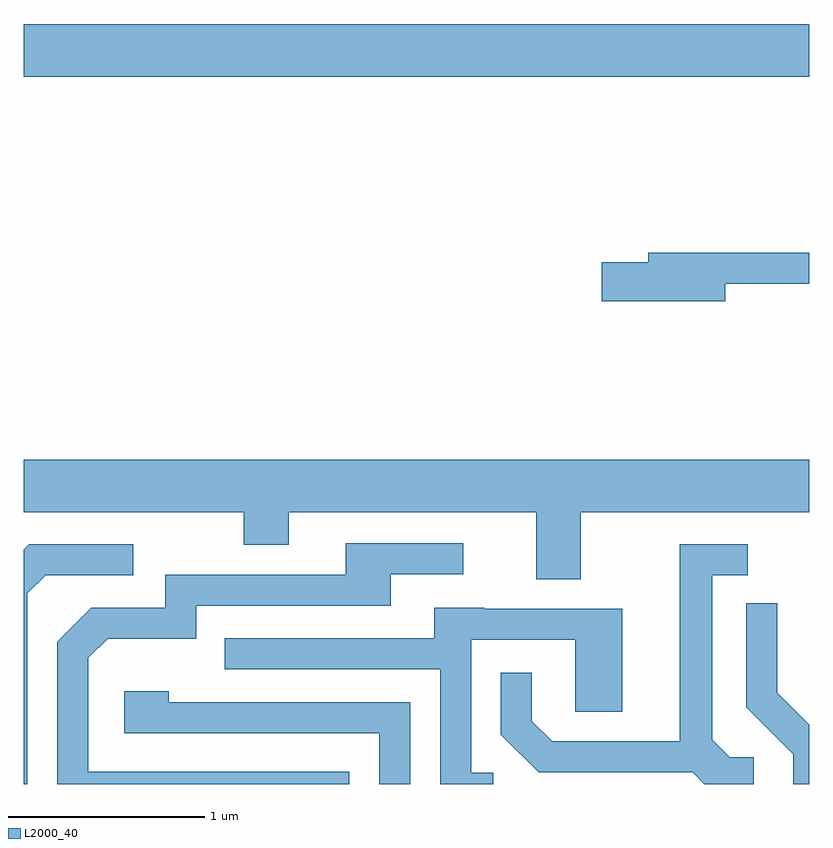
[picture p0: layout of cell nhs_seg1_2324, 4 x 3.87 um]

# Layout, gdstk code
import gdstk
lib = gdstk.Library(unit=1e-6, precision=1e-09)
def R(c, l, rs):  # rectangles x0, y0, x1, y1
    for r in rs: c.add(gdstk.rectangle(r[:2], r[2:], *l))
def P(c, l, *ps):  # polygons
    for p in ps: c.add(gdstk.Polygon(p, *l))
L2000_40 = (2000, 40)

nhs_seg1_2324 = lib.new_cell('nhs_seg1_2324')
R(nhs_seg1_2324, L2000_40, [(255.611,937.316,259.611,937.584)])
P(nhs_seg1_2324, L2000_40, [(259.184,936.261),(259.611,936.261),(259.611,936.419),(258.791,936.419),(258.791,936.369),(258.556,936.369),(258.556,936.171),(259.184,936.171)],
  [(258.449,935.096),(259.611,935.096),(259.611,935.364),(255.611,935.364),(255.611,935.096),(256.731,935.096),(256.731,934.931),(256.959,934.931),(256.959,935.096),(258.221,935.096),(258.221,934.756),(258.449,934.756)],
  [(257.269,933.774),(255.939,933.774),(255.939,934.354),(256.037,934.451),(256.489,934.451),(256.489,934.621),(257.479,934.621),(257.479,934.781),(257.848,934.781),(257.848,934.939),(257.251,934.939),(257.251,934.779),(256.331,934.779),(256.331,934.609),(255.954,934.609),(255.781,934.437),(255.781,933.712),(257.269,933.712)],
  [(259.328,933.849),(259.207,933.849),(259.119,933.937),(259.119,934.776),(259.298,934.776),(259.298,934.934),(258.951,934.934),(258.951,933.929),(258.302,933.929),(258.199,934.032),(258.199,934.278),(258.041,934.278),(258.041,933.964),(258.234,933.771),(259.019,933.771),(259.078,933.712),(259.328,933.712)],
  [(255.629,934.684),(255.722,934.776),(256.168,934.776),(256.168,934.934),(255.639,934.934),(255.611,934.906),(255.611,933.712),(255.629,933.712)],
  [(259.611,934.015),(259.449,934.177),(259.449,934.633),(259.291,934.633),(259.291,934.104),(259.531,933.864),(259.531,933.712),(259.611,933.712)],
  [(258.003,933.769),(257.889,933.769),(257.889,934.446),(258.421,934.446),(258.421,934.081),(258.659,934.081),(258.659,934.604),(257.955,934.604),(257.955,934.609),(257.701,934.609),(257.701,934.454),(256.633,934.454),(256.633,934.296),(257.731,934.296),(257.731,933.712),(258.003,933.712)],
  [(257.579,934.129),(256.349,934.129),(256.349,934.184),(256.121,934.184),(256.121,933.971),(257.421,933.971),(257.421,933.712),(257.579,933.712)])

lib.write_gds('nhs_seg1_2324.gds')
